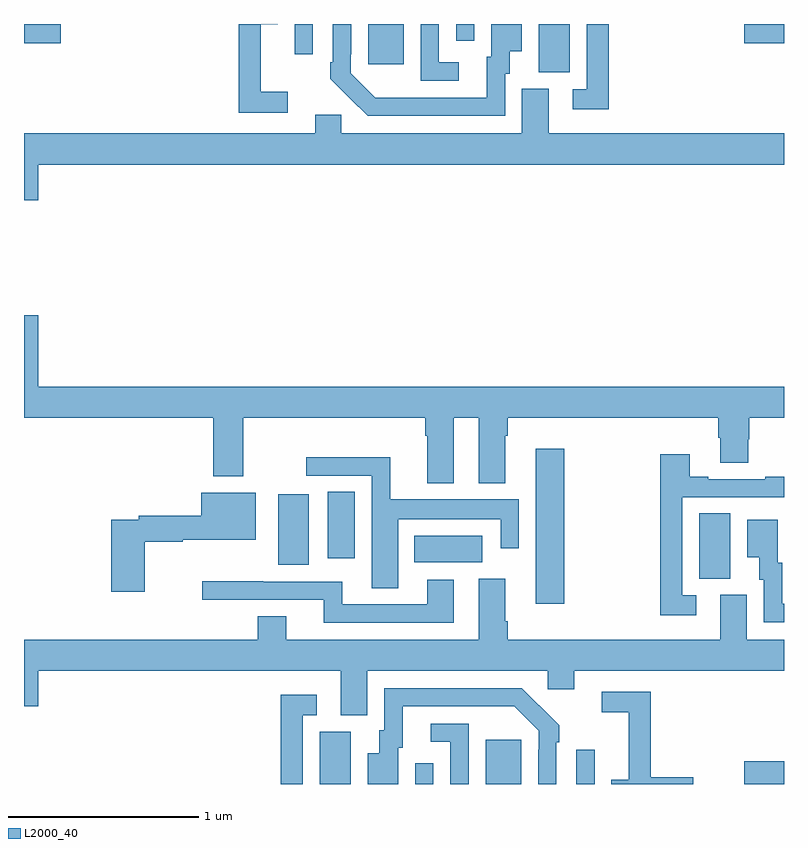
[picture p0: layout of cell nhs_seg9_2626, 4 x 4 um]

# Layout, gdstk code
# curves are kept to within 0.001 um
import gdstk
lib = gdstk.Library(unit=1e-6, precision=1e-09)
def R(c, l, rs):  # rectangles x0, y0, x1, y1
    for r in rs: c.add(gdstk.rectangle(r[:2], r[2:], *l))
def P(c, l, *ps):  # polygons
    for p in ps: c.add(gdstk.Polygon(p, *l))
L2000_40 = (2000, 40)

nhs_seg9_2626 = lib.new_cell('nhs_seg9_2626')
R(nhs_seg9_2626, L2000_40, [(262.556,1186.5,262.72,1186.776), (263.058,1186.5,263.154,1186.609), (263.429,1186.5,263.617,1186.732), (263.907,1186.5,264.003,1186.681), (264.792,1186.5,265,1186.62), (263.693,1187.448,263.843,1188.265), (264.554,1187.581,264.718,1187.924), (262.337,1187.654,262.498,1188.025), (263.054,1187.666,263.413,1187.806), (262.598,1187.688,262.741,1188.038), (263.708,1190.245,263.872,1190.5), (262.811,1190.289,262.999,1190.5), (262.425,1190.34,262.521,1190.5), (261,1190.398,261.193,1190.5), (264.792,1190.398,265,1190.5), (263.274,1190.412,263.37,1190.5)])
P(nhs_seg9_2626, L2000_40, [(264.077,1190.5),(263.961,1190.5),(263.961,1190.157),(263.889,1190.157),(263.889,1190.052),(264.077,1190.052)],
  [(263.287,1190.298),(263.184,1190.298),(263.184,1190.5),(263.088,1190.5),(263.088,1190.202),(263.287,1190.202)],
  [(262.387,1190.143),(262.247,1190.143),(262.247,1190.498),(262.336,1190.498),(262.336,1190.5),(262.129,1190.5),(262.129,1190.034),(262.387,1190.034)],
  [(263.532,1190.238),(263.557,1190.238),(263.557,1190.357),(263.62,1190.357),(263.62,1190.5),(263.459,1190.5),(263.459,1190.328),(263.435,1190.328),(263.435,1190.112),(262.848,1190.113),(262.719,1190.241),(262.719,1190.341),(262.722,1190.341),(262.722,1190.5),(262.626,1190.5),(262.626,1190.299),(262.611,1190.299),(262.611,1190.211),(262.808,1190.016),(263.532,1190.016)],
  [(261.076,1189.76),(265,1189.76),(265,1189.924),(263.761,1189.924),(263.761,1190.16),(263.621,1190.16),(263.621,1189.924),(262.671,1189.924),(262.671,1190.022),(262.532,1190.022),(262.532,1189.924),(261,1189.924),(261,1189.572),(261.076,1189.572)],
  [(263.263,1188.428),(263.393,1188.428),(263.393,1188.083),(263.533,1188.083),(263.533,1188.332),(263.546,1188.332),(263.546,1188.428),(264.653,1188.428),(264.653,1188.322),(264.665,1188.322),(264.665,1188.19),(264.813,1188.19),(264.813,1188.315),(264.818,1188.315),(264.818,1188.428),(265,1188.428),(265,1188.592),(261.076,1188.592),(261.076,1188.967),(261,1188.967),(261,1188.428),(261.995,1188.428),(261.995,1188.119),(262.155,1188.119),(262.155,1188.428),(263.111,1188.428),(263.111,1188.332),(263.123,1188.332),(263.123,1188.083),(263.263,1188.083)],
  [(264.538,1187.493),(264.465,1187.493),(264.465,1188.009),(265,1188.009),(265,1188.118),(264.901,1188.118),(264.901,1188.105),(264.601,1188.105),(264.601,1188.118),(264.505,1188.118),(264.505,1188.235),(264.349,1188.235),(264.349,1187.388),(264.538,1187.388)],
  [(262.969,1187.894),(263.508,1187.894),(263.508,1187.742),(263.604,1187.742),(263.604,1187.998),(262.928,1187.998),(262.928,1188.221),(262.485,1188.221),(262.485,1188.123),(262.829,1188.123),(262.829,1187.53),(262.969,1187.53)],
  [(261.636,1187.776),(261.836,1187.776),(261.836,1187.786),(262.219,1187.786),(262.219,1188.034),(261.932,1188.034),(261.932,1187.912),(261.604,1187.912),(261.604,1187.892),(261.458,1187.892),(261.458,1187.511),(261.636,1187.511)],
  [(265,1187.448),(264.991,1187.448),(264.991,1187.664),(264.967,1187.664),(264.967,1187.89),(264.806,1187.89),(264.806,1187.693),(264.869,1187.693),(264.869,1187.574),(264.894,1187.574),(264.894,1187.352),(265,1187.352)],
  [(262.807,1187.096),(263.757,1187.096),(263.757,1186.998),(263.896,1186.998),(263.896,1187.096),(265,1187.096),(265,1187.26),(264.805,1187.26),(264.805,1187.496),(264.665,1187.496),(264.665,1187.26),(263.546,1187.26),(263.546,1187.356),(263.533,1187.356),(263.533,1187.581),(263.393,1187.581),(263.393,1187.26),(262.381,1187.26),(262.381,1187.384),(262.229,1187.384),(262.229,1187.26),(261,1187.26),(261,1186.908),(261.076,1186.908),(261.076,1187.096),(262.667,1187.096),(262.667,1186.861),(262.807,1186.861)],
  [(263.263,1187.575),(263.123,1187.575),(263.123,1187.445),(262.675,1187.445),(262.675,1187.565),(262.259,1187.565),(262.259,1187.568),(261.939,1187.568),(261.939,1187.469),(262.577,1187.469),(262.577,1187.349),(263.263,1187.349)],
  [(262.969,1186.692),(262.993,1186.692),(262.993,1186.908),(263.581,1186.908),(263.709,1186.779),(263.709,1186.679),(263.706,1186.679),(263.706,1186.5),(263.802,1186.5),(263.802,1186.721),(263.817,1186.721),(263.817,1186.809),(263.62,1187.004),(262.896,1187.004),(262.896,1186.782),(262.871,1186.782),(262.871,1186.663),(262.808,1186.663),(262.808,1186.5),(262.969,1186.5)],
  [(264.523,1186.535),(264.299,1186.535),(264.299,1186.986),(264.042,1186.986),(264.042,1186.878),(264.182,1186.878),(264.182,1186.522),(264.092,1186.522),(264.092,1186.5),(264.523,1186.5)],
  [(262.467,1186.863),(262.54,1186.863),(262.54,1186.969),(262.351,1186.969),(262.351,1186.5),(262.467,1186.5)],
  [(263.34,1186.818),(263.142,1186.818),(263.142,1186.722),(263.244,1186.722),(263.244,1186.5),(263.34,1186.5)])

lib.write_gds('nhs_seg9_2626.gds')
